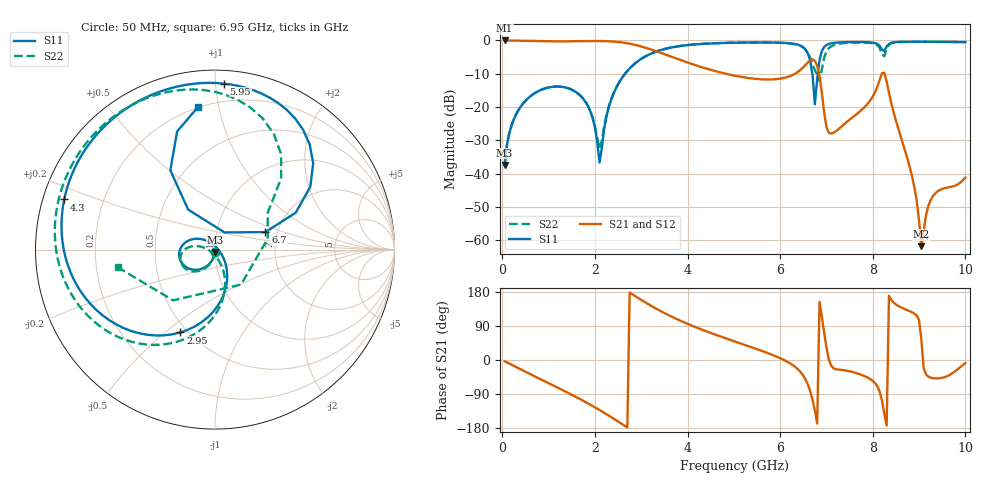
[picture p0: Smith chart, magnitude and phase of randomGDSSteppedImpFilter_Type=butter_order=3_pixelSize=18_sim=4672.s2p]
! freq	dB(S11)	phase(S11)	dB(S12)	phase(S12)
!  dB(S21)	phase(S21)	dB(S22)	phase(S22)
!S-par simulation data
#  GHz  S  DB  R 50
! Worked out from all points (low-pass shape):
!   200 points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, 50 MHz to 10 GHz, reference 50 ohm
!   highest |S21| = -0.01 dB at 50 MHz (marker M1); lowest = -61.8 dB at 9.05 GHz (marker M2)
!   |S21| within 3 dB of the highest: start of sweep to 3.273 GHz
!   lowest |S11| = -37.4 dB at 50 MHz (marker M3), VSWR 1.03, Z = 49.9 - j1.35 ohm
!   |S11| at or under -10 dB: start of sweep to 2.653 GHz; 6.694 GHz to 6.813 GHz (119 MHz wide, 1.76 % of centre)
!   |S22| runs from -37.4 to -0.4 dB; largest |S21 - S12| = 0
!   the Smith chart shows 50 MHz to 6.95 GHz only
!   S11 on the Smith chart (normalised r, x): 50 MHz: 1.00, -0.03; 2.95 GHz: 0.46, -0.56; 4.3 GHz: 0.06, +0.16; 5.95 GHz: 0.08, +1.05; 6.7 GHz: 1.73, +0.37; 6.95 GHz: 0.20, +0.87
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0.05  -37.40 -92.9  -0.01 -3.2  -0.01 -3.2  -37.37 -92.4
0.2  -25.52 -103.1  -0.03 -12.5  -0.03 -12.5  -25.51 -101.9
0.6  -16.85 -129.4  -0.14 -37.0  -0.14 -37.0  -16.84 -125.5
1.75  -17.59 153.3  -0.21 -107.8  -0.21 -107.8  -17.55 172.3
2.1  -36.67 60.0  -0.18 -131.9  -0.18 -131.9  -32.48 -138.1
2.35  -17.84 -59.2  -0.29 -150.6  -0.29 -150.6  -17.66 -68.7
2.95  -6.02 -112.6  -1.62 162.4  -1.62 162.4  -5.98 -105.8
3.4  -2.98 -146.5  -3.63 130.3  -3.63 130.3  -2.95 -135.4
4.3  -1.06 161.6  -8.00 80.7  -8.00 80.7  -1.04 179.0
5.05  -0.67 127.2  -10.67 47.7  -10.67 47.7  -0.66 149.0
5.95  -0.67 86.9  -11.58 7.5  -11.58 7.5  -0.69 111.8
6.5  -2.06 48.0  -8.07 -41.4  -8.07 -41.4  -2.17 70.2
6.7  -10.54 19.1  -5.66 -105.7  -5.66 -105.7  -7.24 41.3
6.75  -19.22 61.0  -6.08 -134.0  -6.08 -134.0  -8.90 35.1
6.95  -1.95 96.9  -21.57 73.7  -21.57 73.7  -5.16 -169.8
7.35  -0.54 58.9  -25.55 -26.4  -25.55 -26.4  -0.84 110.2
8.2  -2.80 17.1  -9.83 -107.5  -9.83 -107.5  -4.14 58.3
8.35  -1.03 27.4  -15.72 169.1  -15.72 169.1  -1.33 77.1
8.9  -0.39 1.4  -44.21 122.2  -44.21 122.2  -0.43 46.3
9.05  -0.39 -3.9  -61.81 52.0  -61.81 52.0  -0.43 40.4
9.3  -0.41 -12.5  -46.75 -48.0  -46.75 -48.0  -0.43 30.9
10  -0.50 -34.8  -41.20 -8.0  -41.20 -8.0  -0.51 5.2
